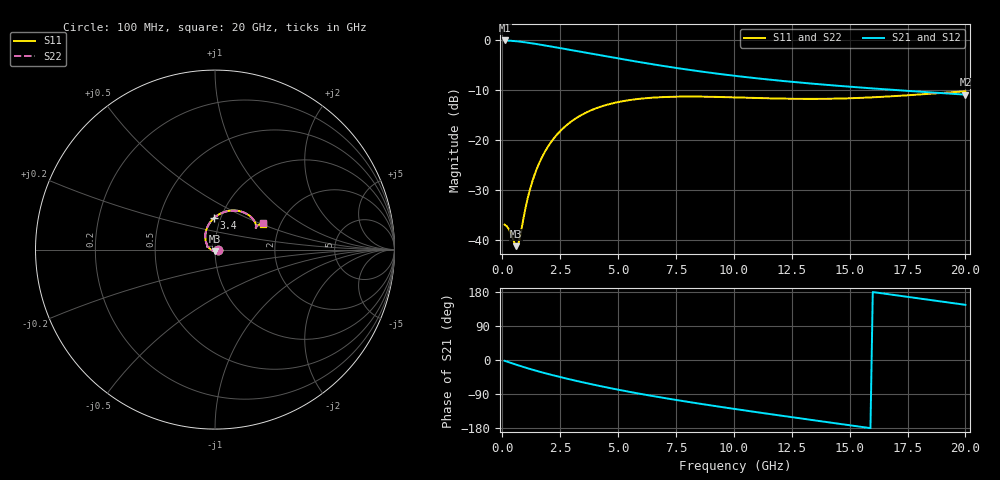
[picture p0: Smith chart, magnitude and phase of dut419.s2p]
! Touchstone file exported from HFSS 2024.1.0
!  File:  C:/UserFiles/LocalFiles/RDL_TSV_Batchsim/temp_RDL_TSV_419_1779716477.aedt
!  Generated:  10:00:54 PM May 25, 2026
!  Design:  RDL_TSV
!  Project:  temp_RDL_TSV_419_1779716477
!  Setup:  Setup1
!  Solution:  Sweep
! Variables:
!  dtsv = 13.45um
!  hbump = 3um
!  htsv = 89.05um
!  ldown = 639.3um
!  lrdl = 225.49um
!  p = 40
!  p1 = 56.28um
!  rhole = 10um
!  subl = 2819.86um
!  t = 450um
!  tdown = 3.94um
!  trdl = 3.41um
!  viad = 10um
!  wdown = 15.36um
!  wrdl = 28.12um
!  xbump = 18um
# GHz S MA R 50.000000
! Terminal data exported
! Port[1] = TM1_1_T1
! Port[2] = TM1_4_T1
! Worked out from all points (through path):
!   200 points, 100 MHz to 20 GHz, reference 50 ohm
!   highest |S21| = -0.14 dB at 100 MHz (marker M1); lowest = -10.9 dB at 20 GHz (marker M2)
!   group delay of S21, straight-line fit = 27.7 ps
!   lowest |S11| = -41.2 dB at 600 MHz (marker M3), VSWR 1.02, Z = 50.1 - j0.875 ohm
!   |S11| at or under -10 dB: start of sweep to end of sweep
!   |S22| runs from -41.0 to -10.3 dB; largest |S21 - S12| = 5.2e-14
!   S11 on the Smith chart (normalised r, x): 100 MHz: 1.03, -0.00; 3.4 GHz: 0.93, +0.34; 20 GHz: 1.64, +0.52
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0.1  0.01437 -7.4  0.9838 -2.1  0.9838 -2.1  0.01435 -7.6
! Gamma 0 0 0 0
! Port Impedance 50 0 50 0
0.3  0.01275 -26.4  0.979 -6.3  0.979 -6.3  0.01276 -26.8
0.6  0.00876 -86.1  0.9665 -12.4  0.9665 -12.4  0.008926 -86.5
0.7  0.009349 -117.8  0.9611 -14.4  0.9611 -14.4  0.00955 -117.5
1  0.02087 -176.5  0.942 -20.1  0.942 -20.1  0.02098 -175.8
1.2  0.0325 165.8  0.9275 -23.8  0.9275 -23.8  0.03255 166.4
1.4  0.04554 153.4  0.9122 -27.3  0.9122 -27.3  0.04553 153.9
1.7  0.06646 139.3  0.8886 -32.4  0.8886 -32.4  0.06636 139.7
2  0.08792 128.0  0.8647 -37.3  0.8647 -37.3  0.08774 128.3
2.4  0.1159 115.4  0.8333 -43.5  0.8333 -43.5  0.1157 115.7
2.9  0.1484 102.4  0.7952 -50.9  0.7952 -50.9  0.148 102.7
3.4  0.1769 91.5  0.7585 -57.9  0.7585 -57.9  0.1764 91.7
3.5  0.182 89.5  0.7513 -59.3  0.7513 -59.3  0.1816 89.7
4.9  0.2364 67.0  0.658 -77.1  0.658 -77.1  0.2358 67.2
5.8  0.2559 56.4  0.6056 -87.5  0.6056 -87.5  0.2553 56.6
6.8  0.2673 47.3  0.5548 -98.3  0.5548 -98.3  0.2667 47.5
8.3  0.2714 37.7  0.4924 -113.2  0.4924 -113.2  0.2708 37.9
10.1  0.2662 30.9  0.4354 -129.8  0.4354 -129.8  0.2657 31.1
11.7  0.26 28.3  0.397 -143.9  0.397 -143.9  0.2597 28.4
13.4  0.2573 27.8  0.3649 -158.6  0.3649 -158.6  0.2571 28.0
16.7  0.2722 29.4  0.3186 173.4  0.3186 173.4  0.2721 29.5
20  0.3063 28.3  0.2839 145.6  0.2839 145.6  0.3062 28.4
